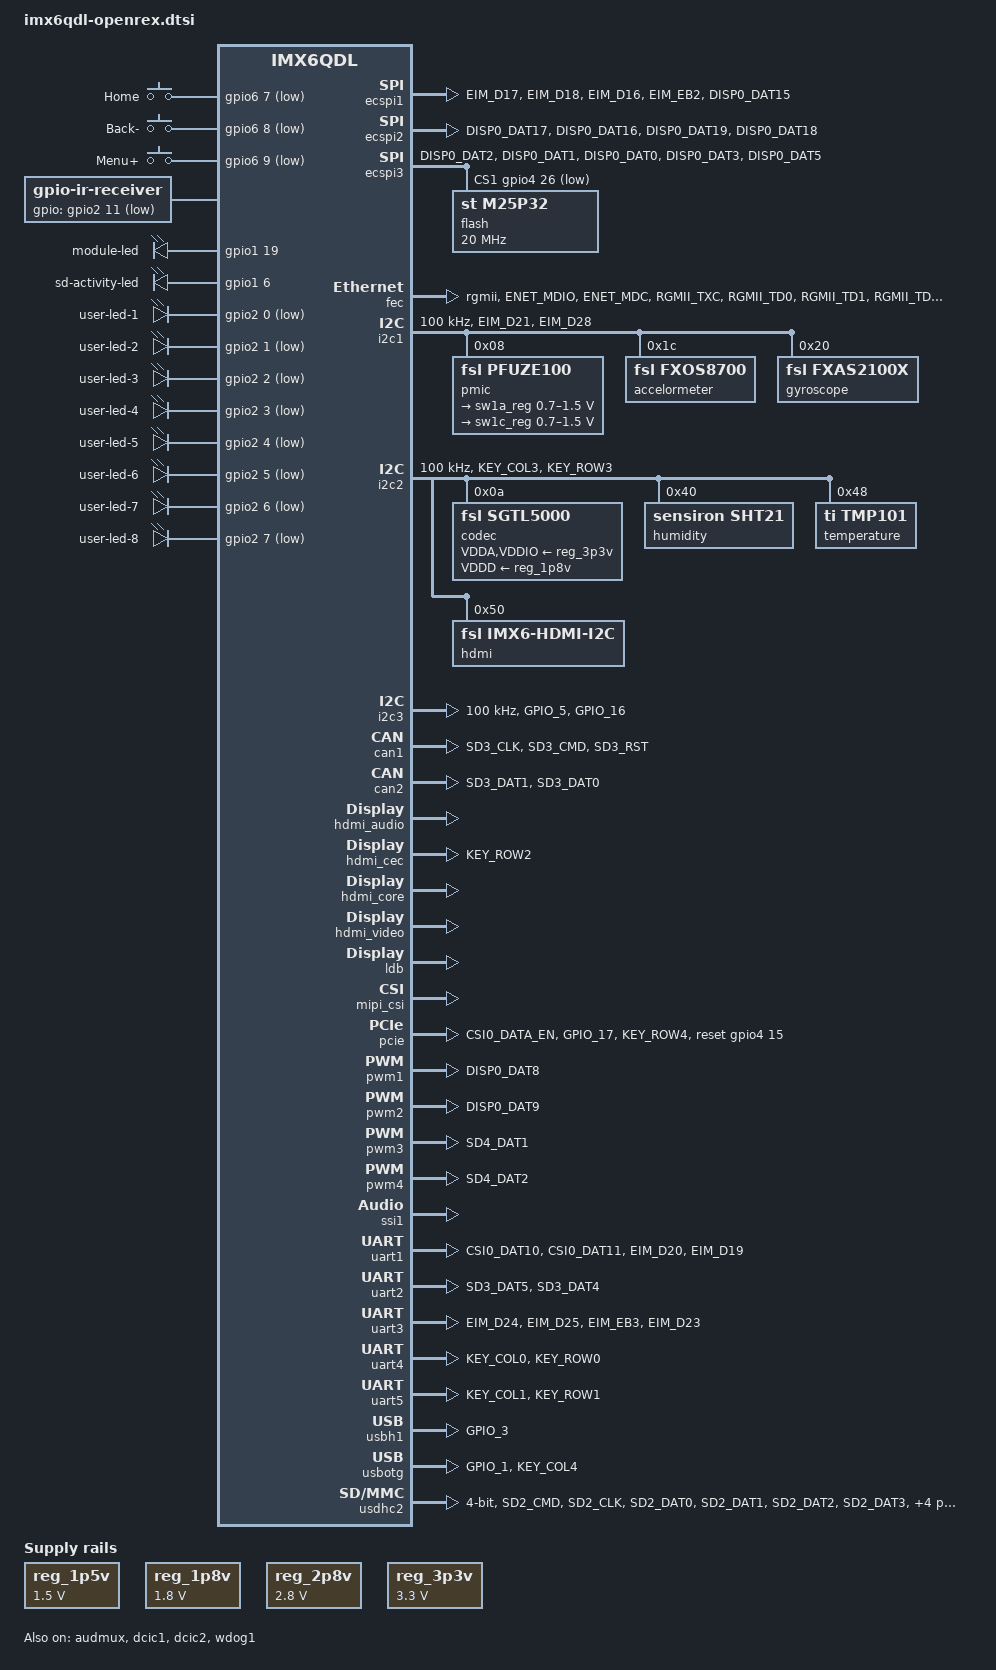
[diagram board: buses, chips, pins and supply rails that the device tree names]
/*
 * Copyright (C) 2015-2017 Voipac.
 *
 * The code contained herein is licensed under the GNU General Public
 * License. You may obtain a copy of the GNU General Public License
 * Version 2 or later at the following locations:
 *
 * http://www.opensource.org/licenses/gpl-license.html
 * http://www.gnu.org/copyleft/gpl.html
 */

#include <dt-bindings/gpio/gpio.h>
#include <dt-bindings/input/input.h>

/ {
	aliases {
		mxcfb0 = &mxcfb1;
		mxcfb1 = &mxcfb2;
		mxcfb2 = &mxcfb3;
		mxcfb3 = &mxcfb4;
	};

	chosen {
		stdout-path = &uart1;
	};

	gpio-keys {
		compatible = "gpio-keys";
		pinctrl-names = "default";
		pinctrl-0 = <&pinctrl_gpio_keys>;

		home {
			label = "Home";
			gpios = <&gpio6 7 GPIO_ACTIVE_LOW>;
			gpio-key,wakeup;
			linux,code = <KEY_HOME>;
		};

		back {
			label = "Back-";
			gpios = <&gpio6 8 GPIO_ACTIVE_LOW>;
			linux,code = <KEY_BACK>;
		};

		menu {
			label = "Menu+";
			gpios = <&gpio6 9 GPIO_ACTIVE_LOW>;
			linux,code = <KEY_MENU>;
		};
	};

	ir-receiver {
		compatible = "gpio-ir-receiver";
		gpios = <&gpio2 11 GPIO_ACTIVE_LOW>;
		pinctrl-names = "default";
		pinctrl-0 = <&pinctrl_ir>;
	};

	lcd@0 {
		compatible = "fsl,lcd";
		ipu_id = <0>;
		disp_id = <0>;
		default_ifmt = "RGB565";
		pinctrl-names = "default";
		pinctrl-0 = <&pinctrl_ipu1_disp1>;
		status = "disabled";
	};

	leds {
		compatible = "gpio-leds";
		pinctrl-names = "default";
		pinctrl-0 = <&pinctrl_leds>;

		module-led {
			gpios = <&gpio1 19 GPIO_ACTIVE_HIGH>;
			linux,default-trigger = "heartbeat";
			retain-state-suspended;
		};

		sd-activity-led {
			gpios = <&gpio1 6 GPIO_ACTIVE_HIGH>;
			linux,default-trigger = "mmc1";
		};

		user-led-1 {
			gpios = <&gpio2 0 GPIO_ACTIVE_LOW>;
		};
		user-led-2 {
			gpios = <&gpio2 1 GPIO_ACTIVE_LOW>;
		};
		user-led-3 {
			gpios = <&gpio2 2 GPIO_ACTIVE_LOW>;
		};
		user-led-4 {
			gpios = <&gpio2 3 GPIO_ACTIVE_LOW>;
		};
		user-led-5 {
			gpios = <&gpio2 4 GPIO_ACTIVE_LOW>;
		};
		user-led-6 {
			gpios = <&gpio2 5 GPIO_ACTIVE_LOW>;
		};
		user-led-7 {
			gpios = <&gpio2 6 GPIO_ACTIVE_LOW>;
		};
		user-led-8 {
			gpios = <&gpio2 7 GPIO_ACTIVE_LOW>;
		};
	};

	mxcfb1: fb@0 {
		compatible = "fsl,mxc_sdc_fb";
		disp_dev = "hdmi";
		interface_pix_fmt = "RGB24";
		mode_str ="1920x1080M@60";
		default_bpp = <24>;
		int_clk = <0>;
		late_init = <0>;
		status = "disabled";
	};

	mxcfb2: fb@1 {
		compatible = "fsl,mxc_sdc_fb";
		disp_dev = "ldb";
		interface_pix_fmt = "RGB666";
		default_bpp = <16>;
		int_clk = <0>;
		late_init = <0>;
		status = "disabled";
	};

	mxcfb3: fb@2 {
		compatible = "fsl,mxc_sdc_fb";
		disp_dev = "lcd";
		interface_pix_fmt = "RGB565";
		mode_str ="CLAA-WVGA";
		default_bpp = <16>;
		int_clk = <0>;
		late_init = <0>;
		status = "disabled";
	};

	mxcfb4: fb@3 {
		compatible = "fsl,mxc_sdc_fb";
		disp_dev = "ldb";
		interface_pix_fmt = "RGB666";
		default_bpp = <16>;
		int_clk = <0>;
		late_init = <0>;
		status = "disabled";
	};

	regulators {
		compatible = "simple-bus";
		#address-cells = <1>;
		#size-cells = <0>;

		reg_1p5v: 1p5v {
			compatible = "regulator-fixed";
			reg = <0>;
			regulator-name = "1P5V";
			regulator-min-microvolt = <1500000>;
			regulator-max-microvolt = <1500000>;
			regulator-always-on;
		};

		reg_1p8v: 1p8v {
			compatible = "regulator-fixed";
			reg = <1>;
			regulator-name = "1P8V";
			regulator-min-microvolt = <1800000>;
			regulator-max-microvolt = <1800000>;
			regulator-always-on;
		};

		reg_2p8v: 2p8v {
			compatible = "regulator-fixed";
			reg = <2>;
			regulator-name = "2P8V";
			regulator-min-microvolt = <2800000>;
			regulator-max-microvolt = <2800000>;
			regulator-always-on;
		};

		reg_3p3v: 3p3v {
			compatible = "regulator-fixed";
			reg = <3>;
			regulator-name = "3P3V";
			regulator-min-microvolt = <3300000>;
			regulator-max-microvolt = <3300000>;
			regulator-always-on;
		};
	};

	sound-hdmi {
		compatible = "fsl,imx6q-audio-hdmi",
			     "fsl,imx-audio-hdmi";
		model = "imx-audio-hdmi";
		hdmi-controller = <&hdmi_audio>;
	};

	sound-sgtl5000 {
		compatible = "fsl,imx6q-audio-sgtl5000",
			     "fsl,imx-audio-sgtl5000";
		model = "sgtl5000-audio";
		ssi-controller = <&ssi1>;
		audio-codec = <&codec>;
		audio-routing =
			"MIC_IN", "Mic Jack",
			"Mic Jack", "Mic Bias",
			"Headphone Jack", "HP_OUT";
		mux-int-port = <1>;
		mux-ext-port = <3>;
	};
/*
	v4l2_cap_0 {
		compatible = "fsl,imx6q-v4l2-capture";
		ipu_id = <1>;
		csi_id = <1>;
		mclk_source = <0>;
		mipi_camera = <0>;
		default_input = <1>;
		status = "okay";
	};
*/
	v4l2_cap_1 {
		compatible = "fsl,imx6q-v4l2-capture";
		ipu_id = <0>;
		csi_id = <1>;
		mclk_source = <0>;
		mipi_camera = <1>;
		default_input = <1>;
		status = "okay";
	};

	v4l2_out {
		compatible = "fsl,mxc_v4l2_output";
		status = "okay";
	};
};

&audmux {
	pinctrl-names = "default";
	pinctrl-0 = <&pinctrl_audmux>;
	status = "okay";
};

&cpu0 {
	arm-supply = <&sw1a_reg>;
	soc-supply = <&sw1c_reg>;
};

&clks {
	fsl,ldb-di0-parent = <&clks IMX6QDL_CLK_PLL2_PFD0_352M>;
	fsl,ldb-di1-parent = <&clks IMX6QDL_CLK_PLL2_PFD0_352M>;
};

&ecspi1 {
	fsl,spi-num-chipselects = <2>;
	cs-gpios = <&gpio2 30 GPIO_ACTIVE_LOW>, <&gpio5 9 GPIO_ACTIVE_LOW>;
	pinctrl-names = "default";
	pinctrl-0 = <&pinctrl_ecspi1>;
	status = "okay";
};

&ecspi2 {
	fsl,spi-num-chipselects = <1>;
	cs-gpios = <&gpio5 12 GPIO_ACTIVE_LOW>;
	pinctrl-names = "default";
	pinctrl-0 = <&pinctrl_ecspi2>;
	status = "okay";
};

&ecspi3 {
	fsl,spi-num-chipselects = <2>;
	cs-gpios = <&gpio4 24 GPIO_ACTIVE_LOW>, <&gpio4 26 GPIO_ACTIVE_LOW>;
	pinctrl-names = "default";
	pinctrl-0 = <&pinctrl_ecspi3>;
	status = "okay";

	flash: m25p80@0 {
		#address-cells = <1>;
		#size-cells = <1>;
		compatible = "st,m25p32";
		spi-max-frequency = <20000000>;
		reg = <1>;
	};
};

&fec {
	pinctrl-names = "default";
	pinctrl-0 = <&pinctrl_enet>;
	phy-mode = "rgmii";
	phy-reset-gpios = <&gpio1 25 GPIO_ACTIVE_LOW>;
	fsl,magic-packet;
	status = "okay";
};

&i2c1 {
	clock-frequency = <100000>;
	pinctrl-names = "default";
	pinctrl-0 = <&pinctrl_i2c1>;
	status = "okay";

	pmic: pfuze100@08 {
		compatible = "fsl,pfuze100";
		reg = <0x08>;

		regulators {
			sw1a_reg: sw1ab {
				regulator-min-microvolt = <700000>;
				regulator-max-microvolt = <1500000>;
				regulator-boot-on;
				regulator-always-on;
				regulator-ramp-delay = <6250>;
			};

			sw1c_reg: sw1c {
				regulator-min-microvolt = <700000>;
				regulator-max-microvolt = <1500000>;
				regulator-boot-on;
				regulator-always-on;
				regulator-ramp-delay = <6250>;
			};
/*
			sw2_reg: sw2 {
				regulator-min-microvolt = <800000>;
				regulator-max-microvolt = <3300000>;
				regulator-boot-on;
				regulator-always-on;
				regulator-ramp-delay = <6250>;
			};

			sw3a_reg: sw3a {
				regulator-min-microvolt = <400000>;
				regulator-max-microvolt = <1975000>;
				regulator-boot-on;
				regulator-always-on;
			};

			sw3b_reg: sw3b {
				regulator-min-microvolt = <400000>;
				regulator-max-microvolt = <1975000>;
				regulator-boot-on;
				regulator-always-on;
			};

			sw4_reg: sw4 {
				regulator-min-microvolt = <800000>;
				regulator-max-microvolt = <3300000>;
				regulator-boot-on;
				regulator-always-on;
			};

			swbst_reg: swbst {
				regulator-min-microvolt = <5000000>;
				regulator-max-microvolt = <5150000>;
				regulator-boot-on;
				regulator-always-on;
			};

			snvs_reg: vsnvs {
				regulator-min-microvolt = <1000000>;
				regulator-max-microvolt = <3000000>;
				regulator-boot-on;
				regulator-always-on;
			};

			vref_reg: vrefddr {
				regulator-boot-on;
				regulator-always-on;
			};

			vgen1_reg: vgen1 {
				regulator-min-microvolt = <800000>;
				regulator-max-microvolt = <1550000>;
				regulator-boot-on;
				regulator-always-on;
			};

			vgen2_reg: vgen2 {
				regulator-min-microvolt = <800000>;
				regulator-max-microvolt = <1550000>;
				regulator-boot-on;
				regulator-always-on;
			};

			vgen3_reg: vgen3 {
				regulator-min-microvolt = <1800000>;
				regulator-max-microvolt = <3300000>;
				regulator-boot-on;
			};

			vgen4_reg: vgen4 {
				regulator-min-microvolt = <1800000>;
				regulator-max-microvolt = <3300000>;
				regulator-boot-on;
				regulator-always-on;
			};

			vgen5_reg: vgen5 {
				regulator-min-microvolt = <1800000>;
				regulator-max-microvolt = <3300000>;
				regulator-boot-on;
			};

			vgen6_reg: vgen6 {
				regulator-min-microvolt = <1800000>;
				regulator-max-microvolt = <3300000>;
				regulator-boot-on;
				regulator-always-on;
			};
*/
		};
	};

	accelormeter: fxos8700@1c {
		compatible = "fsl,fxos8700";
		reg = <0x1c>;
	};

	gyroscope: fxas21002@20 {
		compatible = "fsl,fxas2100x";
		reg = <0x20>;
	};
};

&i2c2 {
	clock-frequency = <100000>;
	pinctrl-names = "default";
	pinctrl-0 = <&pinctrl_i2c2>;
	status = "okay";

	codec: sgtl5000@0a {
		compatible = "fsl,sgtl5000";
		reg = <0x0a>;
		clocks = <&clks 201>;
		VDDA-supply = <&reg_3p3v>;
		VDDIO-supply = <&reg_3p3v>;
		VDDD-supply = <&reg_1p8v>;
	};

	humidity: sht21@40 {
		compatible = "sensiron,sht21";
		reg = <0x40>;
	};

	temperature: tmp101@48 {
		compatible = "ti,tmp101";
		reg = <0x48>;
	};

	hdmi: edid@50 {
		compatible = "fsl,imx6-hdmi-i2c";
		reg = <0x50>;
	};
};

&i2c3 {
	clock-frequency = <100000>;
	pinctrl-names = "default";
	pinctrl-0 = <&pinctrl_i2c3>;
	status = "okay";
};

&iomuxc {
	pinctrl-names = "default";
	pinctrl-0 = <&pinctrl_hog>;

	imx6qdl-openrex {
		pinctrl_hog: hoggrp {
			fsl,pins = <
				MX6QDL_PAD_SD4_CMD__GPIO7_IO09		0x80000000 /* Cpu GPIO 0 */
				MX6QDL_PAD_NANDF_RB0__GPIO6_IO10	0x80000000 /* Cpu GPIO 1 */
				MX6QDL_PAD_EIM_D22__GPIO3_IO22		0x80000000 /* Cpu GPIO 2 */
				MX6QDL_PAD_DI0_PIN4__GPIO4_IO20 	0x80000000 /* Board variant 0 */
				MX6QDL_PAD_DISP0_DAT7__GPIO4_IO28	0x80000000 /* Board variant 1 */
				MX6QDL_PAD_DISP0_DAT14__GPIO5_IO08	0x80000000 /* Board variant 2 */

				MX6QDL_PAD_DISP0_DAT22__GPIO5_IO16 	0x80000000 /* Board ID0 */
				MX6QDL_PAD_DISP0_DAT23__GPIO5_IO17	0x80000000 /* Board ID1 */
				MX6QDL_PAD_ENET_RX_ER__GPIO1_IO24	0x80000000 /* Board ID2 */

				MX6QDL_PAD_SD1_DAT0__GPIO1_IO16		0x00000831 /* MCU_RSTINn Open Drain Output */
				MX6QDL_PAD_SD1_CMD__GPIO1_IO18		0x00000831 /* MCU_ISPn Open Drain Output */
				MX6QDL_PAD_EIM_WAIT__GPIO5_IO00		0x80000000 /* CSPI3_MCU_EN - Unused */

				MX6QDL_PAD_DISP0_DAT12__GPIO5_IO06	0x80000000 /* Pmic int */
				MX6QDL_PAD_EIM_A25__GPIO5_IO02		0x80000000 /* Rstout */
			>;
		};

		pinctrl_audmux: audmuxgrp {
			fsl,pins = <
				MX6QDL_PAD_CSI0_DAT7__AUD3_RXD		0x000130b0
				MX6QDL_PAD_CSI0_DAT4__AUD3_TXC		0x000130b0
				MX6QDL_PAD_CSI0_DAT5__AUD3_TXD		0x000110b0
				MX6QDL_PAD_CSI0_DAT6__AUD3_TXFS		0x000130b0
				MX6QDL_PAD_GPIO_0__CCM_CLKO1		0x000130b0 /* AUD3 Clk */
			>;
		};

		pinctrl_ecspi1: ecspi1grp {
			fsl,pins = <
				MX6QDL_PAD_EIM_D17__ECSPI1_MISO		0x000100b1
				MX6QDL_PAD_EIM_D18__ECSPI1_MOSI		0x000100b1
				MX6QDL_PAD_EIM_D16__ECSPI1_SCLK		0x000100b1
				MX6QDL_PAD_EIM_EB2__GPIO2_IO30		0x80000000 /* CS0 */
				MX6QDL_PAD_DISP0_DAT15__GPIO5_IO09	0x80000000 /* CS1 */
			>;
		};

		pinctrl_ecspi2: ecspi2grp {
			fsl,pins = <
				MX6QDL_PAD_DISP0_DAT17__ECSPI2_MISO	0x000100b1
				MX6QDL_PAD_DISP0_DAT16__ECSPI2_MOSI	0x000100b1
				MX6QDL_PAD_DISP0_DAT19__ECSPI2_SCLK	0x000100b1
				MX6QDL_PAD_DISP0_DAT18__GPIO5_IO12	0x80000000 /* CS0 */
			>;
		};

		pinctrl_ecspi3: ecspi3grp {
			fsl,pins = <
				MX6QDL_PAD_DISP0_DAT2__ECSPI3_MISO	0x000100b1
				MX6QDL_PAD_DISP0_DAT1__ECSPI3_MOSI	0x000100b1
				MX6QDL_PAD_DISP0_DAT0__ECSPI3_SCLK	0x000100b1
				MX6QDL_PAD_DISP0_DAT3__GPIO4_IO24	0x80000000 /* CS0 */
				MX6QDL_PAD_DISP0_DAT5__GPIO4_IO26	0x80000000 /* CS2 */
			>;
		};

		pinctrl_enet: enetgrp {
			fsl,pins = <
				MX6QDL_PAD_ENET_MDIO__ENET_MDIO		0x0001b0b0
				MX6QDL_PAD_ENET_MDC__ENET_MDC		0x0001b0b0
				MX6QDL_PAD_RGMII_TXC__RGMII_TXC		0x0001b0b0
				MX6QDL_PAD_RGMII_TD0__RGMII_TD0		0x0001b0b0
				MX6QDL_PAD_RGMII_TD1__RGMII_TD1		0x0001b0b0
				MX6QDL_PAD_RGMII_TD2__RGMII_TD2		0x0001b0b0
				MX6QDL_PAD_RGMII_TD3__RGMII_TD3		0x0001b0b0
				MX6QDL_PAD_RGMII_TX_CTL__RGMII_TX_CTL	0x0001b0b0
				MX6QDL_PAD_ENET_REF_CLK__ENET_TX_CLK	0x0001b0b0
				MX6QDL_PAD_RGMII_RXC__RGMII_RXC		0x0001b0b0
				MX6QDL_PAD_RGMII_RD0__RGMII_RD0		0x0001b0b0
				MX6QDL_PAD_RGMII_RD1__RGMII_RD1		0x0001b0b0
				MX6QDL_PAD_RGMII_RD2__RGMII_RD2		0x0001b0b0
				MX6QDL_PAD_RGMII_RD3__RGMII_RD3		0x0001b0b0
				MX6QDL_PAD_RGMII_RX_CTL__RGMII_RX_CTL	0x0001b0b0
				MX6QDL_PAD_ENET_TX_EN__GPIO1_IO28	0x80000000 /* PHY Int */
				MX6QDL_PAD_ENET_RXD1__GPIO1_IO26	0x80000000 /* PHY Int */
				MX6QDL_PAD_ENET_CRS_DV__GPIO1_IO25	0x00000831 /* PHY Reset */
			>;
		};

		pinctrl_flexcan1: flexcan1grp {
			fsl,pins = <
				MX6QDL_PAD_SD3_CLK__FLEXCAN1_RX		0x80000000
				MX6QDL_PAD_SD3_CMD__FLEXCAN1_TX		0x80000000
				MX6QDL_PAD_SD3_RST__GPIO7_IO08		0x80000000
			>;
		};

		pinctrl_flexcan2: flexcan2grp {
			fsl,pins = <
				MX6QDL_PAD_SD3_DAT1__FLEXCAN2_RX	0x80000000
				MX6QDL_PAD_SD3_DAT0__FLEXCAN2_TX	0x80000000
			>;
		};

		pinctrl_gpio_keys: gpio_keysgrp {
			fsl,pins = <
				MX6QDL_PAD_NANDF_CLE__GPIO6_IO07	0x0001b0b0
				MX6QDL_PAD_NANDF_ALE__GPIO6_IO08	0x0001b0b0
				MX6QDL_PAD_NANDF_WP_B__GPIO6_IO09	0x0001b0b0
			>;
		};

		pinctrl_hdmi_cec: hdmicecgrp {
			fsl,pins = <
				MX6QDL_PAD_KEY_ROW2__HDMI_TX_CEC_LINE	0x0001f8b0
			>;
		};

		pinctrl_hdmi_hdcp: hdmihdcpgrp {
			fsl,pins = <
				MX6QDL_PAD_KEY_COL3__HDMI_TX_DDC_SCL	0x4001b8b1
				MX6QDL_PAD_KEY_ROW3__HDMI_TX_DDC_SDA	0x4001b8b1
			>;
		};

		pinctrl_i2c1: i2c1grp {
			fsl,pins = <
				MX6QDL_PAD_EIM_D21__I2C1_SCL		0x4001b8b1
				MX6QDL_PAD_EIM_D28__I2C1_SDA		0x4001b8b1
			>;
		};

		pinctrl_i2c2: i2c2grp {
			fsl,pins = <
				MX6QDL_PAD_KEY_COL3__I2C2_SCL		0x4001b8b1
				MX6QDL_PAD_KEY_ROW3__I2C2_SDA		0x4001b8b1
			>;
		};

		pinctrl_i2c3: i2c3grp {
			fsl,pins = <
				MX6QDL_PAD_GPIO_5__I2C3_SCL			0x4001b8b1
				MX6QDL_PAD_GPIO_16__I2C3_SDA		0x4001b8b1
			>;
		};

		pinctrl_ipu1_disp1: ipu1_disp1grp {
			fsl,pins = <
				MX6QDL_PAD_EIM_DA9__IPU1_DISP1_DATA00	0x00000010
				MX6QDL_PAD_EIM_DA8__IPU1_DISP1_DATA01	0x00000010
				MX6QDL_PAD_EIM_DA7__IPU1_DISP1_DATA02	0x00000010
				MX6QDL_PAD_EIM_DA6__IPU1_DISP1_DATA03	0x00000010
				MX6QDL_PAD_EIM_DA5__IPU1_DISP1_DATA04	0x00000010
				MX6QDL_PAD_EIM_DA4__IPU1_DISP1_DATA05	0x00000010
				MX6QDL_PAD_EIM_DA3__IPU1_DISP1_DATA06	0x00000010
				MX6QDL_PAD_EIM_DA2__IPU1_DISP1_DATA07	0x00000010
				MX6QDL_PAD_EIM_DA1__IPU1_DISP1_DATA08	0x00000010
				MX6QDL_PAD_EIM_DA0__IPU1_DISP1_DATA09	0x00000010
				MX6QDL_PAD_EIM_EB1__IPU1_DISP1_DATA10	0x00000010
				MX6QDL_PAD_EIM_EB0__IPU1_DISP1_DATA11	0x00000010
				MX6QDL_PAD_EIM_A17__IPU1_DISP1_DATA12	0x00000010
				MX6QDL_PAD_EIM_A18__IPU1_DISP1_DATA13	0x00000010
				MX6QDL_PAD_EIM_A19__IPU1_DISP1_DATA14	0x00000010
				MX6QDL_PAD_EIM_A20__IPU1_DISP1_DATA15	0x00000010
				MX6QDL_PAD_EIM_A21__IPU1_DISP1_DATA16	0x00000010
				MX6QDL_PAD_EIM_A22__IPU1_DISP1_DATA17	0x00000010
				MX6QDL_PAD_EIM_A23__IPU1_DISP1_DATA18	0x00000010
				MX6QDL_PAD_EIM_A24__IPU1_DISP1_DATA19	0x00000010
				MX6QDL_PAD_EIM_BCLK__GPIO6_IO31			0x80000000 /* Disp Rst */
				MX6QDL_PAD_EIM_A16__IPU1_DI1_DISP_CLK	0x00000010 /* CLK */
				MX6QDL_PAD_EIM_DA10__IPU1_DI1_PIN15		0x00000010 /* WRX */
				MX6QDL_PAD_EIM_LBA__IPU1_DI1_PIN17		0x00000010 /* RDX */
				MX6QDL_PAD_EIM_DA13__IPU1_DI1_D0_CS		0x80000000
				MX6QDL_PAD_EIM_DA11__IPU1_DI1_PIN02		0x00000010 /* HSYNC */
				MX6QDL_PAD_EIM_DA12__IPU1_DI1_PIN03		0x00000010 /* VSYNC */
			>;
		};

		pinctrl_ipu2_csi1: ipu2_csi1grp { /* parallel camera */
			fsl,pins = <
/*
				MX6QDL_PAD_EIM_DA9__IPU2_CSI1_DATA00	0x000030B0
				MX6QDL_PAD_EIM_DA8__IPU2_CSI1_DATA01	0x000030B0
				MX6QDL_PAD_EIM_DA7__IPU2_CSI1_DATA02	0x80000000
				MX6QDL_PAD_EIM_DA6__IPU2_CSI1_DATA03	0x80000000
				MX6QDL_PAD_EIM_DA5__IPU2_CSI1_DATA04	0x80000000
				MX6QDL_PAD_EIM_DA4__IPU2_CSI1_DATA05	0x80000000
				MX6QDL_PAD_EIM_DA3__IPU2_CSI1_DATA06	0x80000000
				MX6QDL_PAD_EIM_DA2__IPU2_CSI1_DATA07	0x80000000
				MX6QDL_PAD_EIM_DA1__IPU2_CSI1_DATA08	0x80000000
				MX6QDL_PAD_EIM_DA0__IPU2_CSI1_DATA09	0x80000000
				MX6QDL_PAD_EIM_EB1__IPU2_CSI1_DATA10	0x000030B0
				MX6QDL_PAD_EIM_EB0__IPU2_CSI1_DATA11	0x000030B0
				MX6QDL_PAD_EIM_A17__IPU2_CSI1_DATA12	0x80000000
				MX6QDL_PAD_EIM_A18__IPU2_CSI1_DATA13	0x80000000
				MX6QDL_PAD_EIM_A19__IPU2_CSI1_DATA14	0x80000000
				MX6QDL_PAD_EIM_A20__IPU2_CSI1_DATA15	0x80000000
				MX6QDL_PAD_EIM_A21__IPU2_CSI1_DATA16	0x80000000
				MX6QDL_PAD_EIM_A22__IPU2_CSI1_DATA17	0x80000000
				MX6QDL_PAD_EIM_A23__IPU2_CSI1_DATA18	0x80000000
				MX6QDL_PAD_EIM_A24__IPU2_CSI1_DATA19	0x80000000
				MX6QDL_PAD_EIM_DA10__IPU2_CSI1_DATA_EN	0x80000000
				MX6QDL_PAD_EIM_A16__IPU2_CSI1_PIXCLK	0x80000000
				MX6QDL_PAD_EIM_DA11__IPU2_CSI1_HSYNC	0x80000000
				MX6QDL_PAD_EIM_DA12__IPU2_CSI1_VSYNC	0x000120B0
*/
				MX6QDL_PAD_EIM_LBA__GPIO2_IO27			0x80000000 /* CSI1 Int */
				MX6QDL_PAD_EIM_DA13__GPIO3_IO13			0x80000000 /* CSI1 Int2 */
				MX6QDL_PAD_EIM_BCLK__GPIO6_IO31			0x80000000 /* CSI1 Rst */
			>;
		};

		pinctrl_ir: irgrp {
			fsl,pins = <
				MX6QDL_PAD_SD4_DAT3__GPIO2_IO11     0x00017059 /* IR_RCV */
			>;
		};

		pinctrl_leds: ledsgrp {
			fsl,pins = <
				MX6QDL_PAD_SD1_DAT2__GPIO1_IO19		0x00017059 /* Module LED */
				MX6QDL_PAD_GPIO_6__GPIO1_IO06		0x00017059 /* SD CARD LED */
				MX6QDL_PAD_NANDF_D0__GPIO2_IO00		0x00000831 /* LED1 Open Drain Output */
				MX6QDL_PAD_NANDF_D1__GPIO2_IO01		0x00000831 /* LED2 Open Drain Output */
				MX6QDL_PAD_NANDF_D2__GPIO2_IO02		0x00000831 /* LED3 Open Drain Output */
				MX6QDL_PAD_NANDF_D3__GPIO2_IO03		0x00000831 /* LED4 Open Drain Output */
				MX6QDL_PAD_NANDF_D4__GPIO2_IO04		0x00000831 /* LED5 Open Drain Output */
				MX6QDL_PAD_NANDF_D5__GPIO2_IO05		0x00000831 /* LED6 Open Drain Output */
				MX6QDL_PAD_NANDF_D6__GPIO2_IO06		0x00000831 /* LED7 Open Drain Output */
				MX6QDL_PAD_NANDF_D7__GPIO2_IO07		0x00000831 /* LED8 Open Drain Output */
			>;
		};

		pinctrl_ov5647_mipi: ov5647_mipigrp {
			fsl,pins = <
				MX6QDL_PAD_SD3_DAT2__GPIO7_IO06		0x00017059 /* RPI Camera PWR */
				MX6QDL_PAD_SD3_DAT3__GPIO7_IO07		0x00013059 /* RPI Camera LED */
			>;
		};

		pinctrl_pcie: pciegrp {
			fsl,pins = <
				MX6QDL_PAD_CSI0_DATA_EN__GPIO5_IO20	0x00017059 /* Wake */
				MX6QDL_PAD_GPIO_17__GPIO7_IO12		0x000030B1 /* Wdis */
				MX6QDL_PAD_KEY_ROW4__GPIO4_IO15		0x0000d038 /* Reset */
			>;
		};

		pinctrl_pwm1: pwm1grp {
			fsl,pins = <
				MX6QDL_PAD_DISP0_DAT8__PWM1_OUT		0x0001b0b1
			>;
		};

		pinctrl_pwm2: pwm2grp {
			fsl,pins = <
				MX6QDL_PAD_DISP0_DAT9__PWM2_OUT		0x0001b0b1
			>;
		};

		pinctrl_pwm3: pwm3grp {
			fsl,pins = <
				MX6QDL_PAD_SD4_DAT1__PWM3_OUT		0x0001b0b1
			>;
		};

		pinctrl_pwm4: pwm4grp {
			fsl,pins = <
				MX6QDL_PAD_SD4_DAT2__PWM4_OUT		0x0001b0b1
			>;
		};

		pinctrl_uart1: uart1grp {
			fsl,pins = <
				MX6QDL_PAD_CSI0_DAT10__UART1_TX_DATA	0x0001b0b1
				MX6QDL_PAD_CSI0_DAT11__UART1_RX_DATA	0x0001b0b1
				MX6QDL_PAD_EIM_D20__UART1_RTS_B		0x0001b0b1
				MX6QDL_PAD_EIM_D19__UART1_CTS_B		0x0001b0b1
			>;
		};

		pinctrl_uart2: uart2grp {
			fsl,pins = <
				MX6QDL_PAD_SD3_DAT5__UART2_TX_DATA	0x0001b0b1
				MX6QDL_PAD_SD3_DAT4__UART2_RX_DATA	0x0001b0b1
			>;
		};

		pinctrl_uart3: uart3grp {
			fsl,pins = <
				MX6QDL_PAD_EIM_D24__UART3_TX_DATA	0x0001b0b1
				MX6QDL_PAD_EIM_D25__UART3_RX_DATA	0x0001b0b1
				MX6QDL_PAD_EIM_EB3__UART3_RTS_B		0x0001b0b1
				MX6QDL_PAD_EIM_D23__UART3_CTS_B		0x0001b0b1
			>;
		};

		pinctrl_uart4: uart4grp {
			fsl,pins = <
				MX6QDL_PAD_KEY_COL0__UART4_TX_DATA	0x0001b0b1
				MX6QDL_PAD_KEY_ROW0__UART4_RX_DATA	0x0001b0b1
			>;
		};

		pinctrl_uart5: uart5grp {
			fsl,pins = <
				MX6QDL_PAD_KEY_COL1__UART5_TX_DATA	0x0001b0b1
				MX6QDL_PAD_KEY_ROW1__UART5_RX_DATA	0x0001b0b1
			>;
		};

		pinctrl_usbh1: usbh1grp {
			fsl,pins = <
				MX6QDL_PAD_GPIO_3__USB_H1_OC		0x00017059
			>;
		};

		pinctrl_usbotg: usbotggrp {
			fsl,pins = <
				MX6QDL_PAD_GPIO_1__USB_OTG_ID		0x00017059
				MX6QDL_PAD_KEY_COL4__USB_OTG_OC		0x00017059
			>;
		};

		pinctrl_usdhc2: usdhc2grp {
			fsl,pins = <
				MX6QDL_PAD_SD2_CMD__SD2_CMD		0x00017059
				MX6QDL_PAD_SD2_CLK__SD2_CLK		0x00010059
				MX6QDL_PAD_SD2_DAT0__SD2_DATA0		0x00017059
				MX6QDL_PAD_SD2_DAT1__SD2_DATA1		0x00017059
				MX6QDL_PAD_SD2_DAT2__SD2_DATA2		0x00017059
				MX6QDL_PAD_SD2_DAT3__SD2_DATA3		0x00017059
				MX6QDL_PAD_GPIO_4__GPIO1_IO04		0x80000000 /* CD */
				MX6QDL_PAD_GPIO_2__GPIO1_IO02		0x80000000 /* WP */
			>;
		};

		pinctrl_wdog: wdoggrp {
			fsl,pins = <
				MX6QDL_PAD_GPIO_9__WDOG1_B		0x80000000
			>;
		};
	};
};

&dcic1 {
	dcic_id = <0>;
	dcic_mux = "dcic-hdmi";
	status = "okay";
};

&dcic2 {
	dcic_id = <1>;
	dcic_mux = "dcic-lvds1";
	status = "okay";
};

&can1 {
	pinctrl-names = "default";
	pinctrl-0 = <&pinctrl_flexcan1>;
	status = "okay";
};

&can2 {
	pinctrl-names = "default";
	pinctrl-0 = <&pinctrl_flexcan2>;
	status = "okay";
};

&gpc {
	fsl,ldo-bypass = <1>;
	fsl,wdog-reset = <1>;
};

&hdmi_audio {
	status = "okay";
};

&hdmi_cec {
	pinctrl-names = "default";
	pinctrl-0 = <&pinctrl_hdmi_cec>;
	status = "okay";
};

&hdmi_core {
	ipu_id = <0>;
	disp_id = <0>;
	status = "okay";
};

&hdmi_video {
	fsl,phy_reg_vlev = <0x0294>;
	fsl,phy_reg_cksymtx = <0x800d>;
	status = "okay";
};

&ldb {
	status = "okay";

	lvds-channel@0 {
		fsl,data-mapping = "spwg";
		fsl,data-width = <18>;
		primary;
		status = "okay";

		display-timings {
			native-mode = <&timing0>;
			timing0: hsd100pxn1 {
				clock-frequency = <65000000>;
				hactive = <1024>;
				vactive = <768>;
				hback-porch = <220>;
				hfront-porch = <40>;
				vback-porch = <21>;
				vfront-porch = <7>;
				hsync-len = <60>;
				vsync-len = <10>;
			};
		};
	};
};

&mipi_csi {
	ipu_id = <0>;
	csi_id = <1>;
	v_channel = <1>;
	lanes = <2>;
	mipi_dphy_clk = <0x28>;
	status = "okay";
};

&mipi_dsi {
	dev_id = <0>;
	disp_id = <1>;
	status = "disabled";
};

&pcie {
	pinctrl-names = "default";
	pinctrl-0 = <&pinctrl_pcie>;
	reset-gpio = <&gpio4 15 GPIO_ACTIVE_HIGH>;
	status = "okay";
};

&pwm1 {
	pinctrl-names = "default";
	pinctrl-0 = <&pinctrl_pwm1>;
	status = "okay";
};

&pwm2 {
	pinctrl-names = "default";
	pinctrl-0 = <&pinctrl_pwm2>;
	status = "okay";
};

&pwm3 {
	pinctrl-names = "default";
	pinctrl-0 = <&pinctrl_pwm3>;
	status = "okay";
};

&pwm4 {
	pinctrl-names = "default";
	pinctrl-0 = <&pinctrl_pwm4>;
	status = "okay";
};

&ssi1 {
	fsl,mode = "i2s-slave";
	status = "okay";
};

&uart1 {
	pinctrl-names = "default";
	pinctrl-0 = <&pinctrl_uart1>;
	status = "okay";
};

&uart2 {
	pinctrl-names = "default";
	pinctrl-0 = <&pinctrl_uart2>;
	status = "okay";
};

&uart3 {
	pinctrl-names = "default";
	pinctrl-0 = <&pinctrl_uart3>;
	status = "okay";
};

&uart4 {
	pinctrl-names = "default";
	pinctrl-0 = <&pinctrl_uart4>;
	status = "okay";
};

&uart5 {
	pinctrl-names = "default";
	pinctrl-0 = <&pinctrl_uart5>;
	status = "okay";
};

&usbh1 {
	pinctrl-names = "default";
	pinctrl-0 = <&pinctrl_usbh1>;
	disable-over-current;
	status = "okay";
};

&usbotg {
	pinctrl-names = "default";
	pinctrl-0 = <&pinctrl_usbotg>;
	disable-over-current;
	srp-disable;
	hnp-disable;
	adp-disable;
	status = "okay";
};

&usbphy1 {
	tx-d-cal = <0x5>;
};

&usbphy2 {
	tx-d-cal = <0x5>;
};

&usdhc2 {
	pinctrl-names = "default";
	pinctrl-0 = <&pinctrl_usdhc2>;
	bus-width = <4>;
	cd-gpios = <&gpio1 4 GPIO_ACTIVE_LOW>;
	wp-gpios = <&gpio1 2 GPIO_ACTIVE_HIGH>;
	no-1-8-v;
	keep-power-in-suspend;
	enable-sdio-wakeup;
	status = "okay";
};

&wdog1 {
	pinctrl-names = "default";
	pinctrl-0 = <&pinctrl_wdog>;
	status = "okay";
};

&wdog2 {
	status = "disabled";
};
